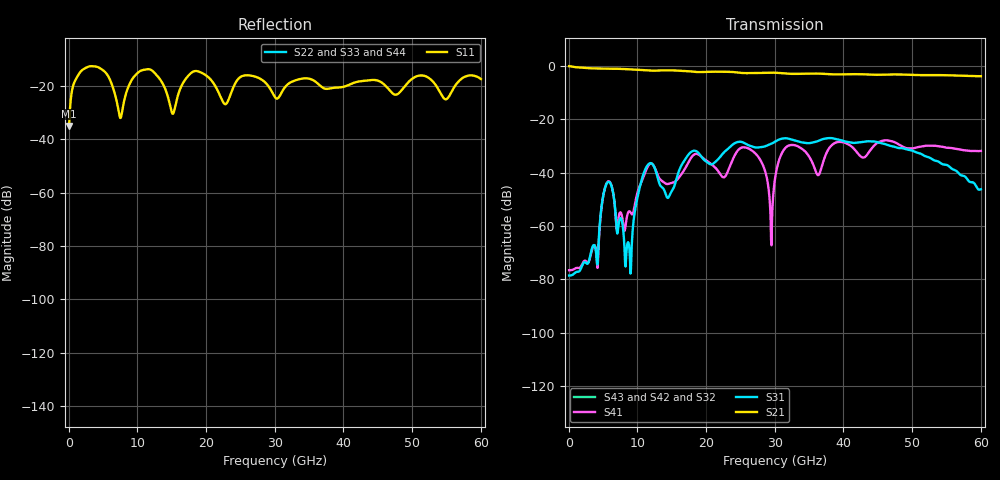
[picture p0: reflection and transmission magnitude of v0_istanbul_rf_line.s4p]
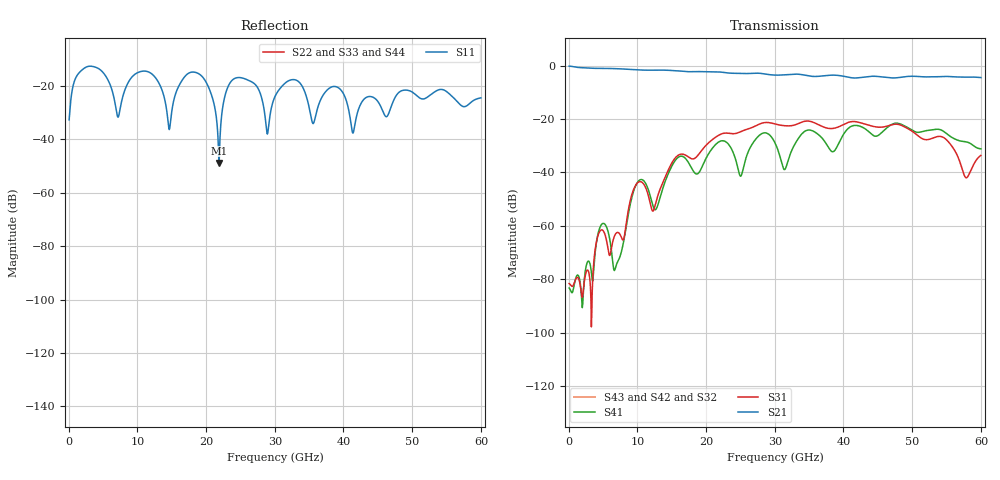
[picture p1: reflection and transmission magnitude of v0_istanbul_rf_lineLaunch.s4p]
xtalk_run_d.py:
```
"""Istanbul run (d): full module. Driver carrier (alumina) with GS traces, 8 bond wires (PEC, 17 um) to the launch pads,
line pair 8.75 mm. Port 1 = waveguide port on the driver trace of line A (aggressor, y = 0, excited); port 5 = same on
line B (not excited); ports 2, 4 = far-end discrete ports (assumed: 2 = A far, 4 = B far).
S-parameters exported as ASCII magnitudes (dB) only: S11, S21, S41 (FEXT), S51 (NEXT, at the driver port of B).
EO crosstalk from the gap fields as in runs (a)-(c): both lines 5 um from their centre, push-pull, n_g 2.27.
Field grid z 0.300..9.050, the z = 0.300 point dropped (as run c). All 60 frequencies are valid.
Runs (a)-(c) leave out 2 and 15 GHz (corrupted in run c), so the comparison uses the common set."""
import os, re, sys
HERE = os.path.dirname(os.path.abspath(__file__))
RA, RB, RC = (os.path.join(HERE, f"../istanbul_run_{r}") for r in "abc")
sys.path.insert(0, RA); sys.path.insert(0, os.path.abspath(os.path.join(HERE, "../../../..")))
import numpy as np, skrf as rf, matplotlib
matplotlib.use("Agg"); import matplotlib.pyplot as plt
from mzm_interconnect import parameters as P, xtalk_fields as XF
from load_fields import load
p = P.defaults(); p["Rt_R"] = 50.0; p["Zs_R"] = 50.0
dB = lambda s: 20 * np.log10(np.maximum(abs(s), 1e-12))
BAD = (2.0, 15.0)
LA = "e-field (f=1) [1]_lineA.zip"

def read_ascii(path):
    out, key = {}, None
    for ln in open(path):
        m = re.search(r'"(S\d,\d) \[Magnitude / dB\]"', ln)
        if m: key = m.group(1); out[key] = []; continue
        if ln.startswith("#") or not ln.strip(): continue
        out[key].append([float(v) for v in ln.split()])
    return {k: np.array(v) for k, v in out.items()}

Xd_all = XF.eo_crosstalk_fields(p, load(base=HERE, a_zip=LA, drop="first"))
Xd = XF.eo_crosstalk_fields(p, load(base=HERE, a_zip=LA, drop="first", skip_f=BAD)); f = Xd["f_GHz"]
Xa = XF.eo_crosstalk_fields(p, load(skip_f=BAD))
Xb = XF.eo_crosstalk_fields(p, load(base=RB, a_zip=LA, skip_f=BAD))
Xc = XF.eo_crosstalk_fields(p, load(base=RC, a_zip=LA, drop="first", skip_f=BAD))
for X in (Xa, Xb, Xc): assert np.allclose(X["f_GHz"], f)
eo = {r: dB(X["X"]) for r, X in zip("abcd", (Xa, Xb, Xc, Xd))}
Sd = read_ascii(os.path.join(HERE, "v0_istanbul_rf_module_allS.txt"))
na = rf.Network(os.path.join(RA, "v0_istanbul_rf_line.s4p")); nc = rf.Network(os.path.join(RC, "v0_istanbul_rf_lineLaunch.s4p"))
S = {"NEXT a": (na.f / 1e9, dB(na.s[:, 2, 0])), "NEXT c": (nc.f / 1e9, dB(nc.s[:, 2, 0])), "NEXT d": tuple(Sd["S5,1"].T),
     "FEXT a": (na.f / 1e9, dB(na.s[:, 3, 0])), "FEXT c": (nc.f / 1e9, dB(nc.s[:, 3, 0])), "FEXT d": tuple(Sd["S4,1"].T),
     "S11 c": (nc.f / 1e9, dB(nc.s[:, 0, 0])), "S11 d": tuple(Sd["S1,1"].T),
     "S21 c": (nc.f / 1e9, dB(nc.s[:, 1, 0])), "S21 d": tuple(Sd["S2,1"].T)}
I = {k: np.interp(f, *v) for k, v in S.items()}
np.savetxt(os.path.join(HERE, "xtalk_run_d.csv"), np.c_[f, I["NEXT d"], I["FEXT d"], eo["d"], eo["a"], eo["b"], eo["c"]],
           delimiter=",", fmt="%.3f", header="f_GHz,NEXT_dB_run_d,FEXT_dB_run_d,EO_dB_run_d,EO_dB_run_a,EO_dB_run_b,EO_dB_run_c", comments="")
k = f >= 5
print("f | NEXT a c d | FEXT a c d | EO a b c d | S11 c d | S21 c d (dB)")
for q in (5, 10, 20, 30, 40, 50, 60):
    i = np.argmin(abs(f - q))
    print(f"{q:2d} | " + " ".join(f"{I['NEXT '+r][i]:6.1f}" for r in "acd") + " | " + " ".join(f"{I['FEXT '+r][i]:6.1f}" for r in "acd")
          + " | " + " ".join(f"{eo[r][i]:6.1f}" for r in "abcd") + f" | {I['S11 c'][i]:6.1f} {I['S11 d'][i]:6.1f} | {I['S21 c'][i]:5.1f} {I['S21 d'][i]:5.1f}")
for lab, y in [(f"NEXT {r}", I[f"NEXT {r}"]) for r in "acd"] + [(f"FEXT {r}", I[f"FEXT {r}"]) for r in "acd"] + [(f"EO {r}", eo[r]) for r in "abcd"]:
    j = np.argmax(np.where(k, y, -999)); print(f"max {lab} 5-60 GHz: {y[j]:.1f} dB at {f[j]:.0f} GHz; median {np.median(y[k]):.1f}")
for lab, y, r in (("EO d - EO c", eo["d"], eo["c"]), ("EO d - EO a", eo["d"], eo["a"]), ("NEXT d - NEXT c", I["NEXT d"], I["NEXT c"]),
                  ("FEXT d - FEXT c", I["FEXT d"], I["FEXT c"]), ("S21 d - S21 c", I["S21 d"], I["S21 c"])):
    d = y - r; print("%s, 5-60 GHz: median %+.1f dB, 5-95%% %+.1f .. %+.1f; corr %.2f" % (lab, np.median(d[k]), *np.percentile(d[k], [5, 95]), np.corrcoef(y[k], r[k])[0, 1]))
print("corr(EO d, FEXT d) %.2f, corr(EO d, NEXT d) %.2f" % (np.corrcoef(eo["d"][k], I["FEXT d"][k])[0, 1], np.corrcoef(eo["d"][k], I["NEXT d"][k])[0, 1]))
fa = Xd_all["f_GHz"]; ea = dB(Xd_all["X"])
print("run d at 2, 15 GHz (left out of the comparison): " + ", ".join(f"{ea[np.argmin(abs(fa-q))]:.1f}" for q in (2, 15)) + " dB")
C = {"a": "#eb6834", "b": "#2a78d6", "c": "#1baa7d", "d": "#7a4bd1"}
def fig_(name, title, ylab, curves, ylim=(-110, -10)):
    fig, ax = plt.subplots(figsize=(8.5, 4.6))
    for x, y, c, ls, lab in curves: ax.plot(x, y, ls, color=c, ms=3, lw=1.3, label=lab)
    ax.set_xlim(0, 60); ax.set_ylim(*ylim); ax.set_xlabel("frequency (GHz)"); ax.set_ylabel(ylab); ax.grid(alpha=0.3)
    ax.set_title(title, fontsize=9.5); ax.legend(frameon=False, fontsize=8, loc="lower right"); fig.tight_layout()
    fig.savefig(os.path.join(HERE, name), dpi=150)
fig_("xtalk_run_d.png", "Istanbul run (d), full module (driver + wires + pads + line): NEXT, FEXT and EO crosstalk", "dB",
     [(*S["NEXT d"], "0.55", "-", "NEXT |S51| (driver port of B)"), (*S["FEXT d"], "0.2", "-", "FEXT |S41|"),
      (fa, ea, C["d"], "o-", "EO crosstalk B/A (gap fields)")])
fig_("eo_runs_abcd.png", "Istanbul 8.75 mm, EO crosstalk B/A: runs (a)-(d) (2 and 15 GHz left out)", "EO crosstalk (dB)",
     [(f, eo["a"], C["a"], "o-", "(a) bare line"), (f, eo["b"], C["b"], "o-", "(b) real far-end terminations"),
      (f, eo["c"], C["c"], "o-", "(c) launch pads"), (f, eo["d"], C["d"], "o-", "(d) full module")], ylim=(-70, -10))
fig_("next_fext_runs_acd.png", "Istanbul 8.75 mm: NEXT (solid) and FEXT (dashed), runs (a), (c), (d)", "dB",
     [(*S[f"NEXT {r}"], C[r], "-", f"NEXT ({r})") for r in "acd"] + [(*S[f"FEXT {r}"], C[r], "--", f"FEXT ({r})") for r in "acd"])
```
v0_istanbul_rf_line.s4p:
! TOUCHSTONE file generated by CST MICROWAVE STUDIO
! Date and time: Thu Nov  5 15:45:10 2026
! Project name: v0_istanbul_rf_line.cst
! Parameters = {LN_THICKNESS=0.000275; SILICON_THICKNESS=0.55}
! Header version: 2024
! Port assignment regex: !\s*Touchstone port\s*([0-9]+)\s*=\s*(CST MWS port|CST DES external port|CST DES block port)\s*(.+)\s* \(\"(.*)\"\)(\s*mode\s*([0-9]+))?.*
! Touchstone port assignment:
! Touchstone port 1 = CST MWS port 1 ("")
! Touchstone port 2 = CST MWS port 2 ("")
! Touchstone port 3 = CST MWS port 3 ("")
! Touchstone port 4 = CST MWS port 4 ("")
# GHz S MA R 50
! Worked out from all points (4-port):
!   1000 points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, 60 MHz to 60 GHz, reference 50 ohm
!   strongest paths, dB at 60 MHz, 15.06 GHz, 30.06 GHz, 45.06 GHz, 60 GHz:
!     S21: -0.1, -1.7, -2.6, -3.4, -3.9
!     S31: -78.5, -46.7, -28.4, -28.7, -46.2
!     S41: -76.5, -43.8, -41.8, -28.6, -31.9
!     S43: -, -, -, -, -
!     S42: -, -, -, -, -
!     S32: -, -, -, -, -
!   lowest |S11| = -35.0 dB at 60 MHz (marker M1), VSWR 1.04, Z = 51.4 + j1.06 ohm
!   |S11| at or under -10 dB: start of sweep to end of sweep
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0.06  0.01769 35.6  0 0.0  0 0.0  0 0.0
      0.9858 -1.8  0 0.0  0 0.0  0 0.0
      0.0001184 158.7  0 0.0  0 0.0  0 0.0
      0.0001491 -20.8  0 0.0  0 0.0  0 0.0
18.18  0.1852 0.8  0 0.0  0 0.0  0 0.0
       0.7761 -71.4  0 0.0  0 0.0  0 0.0
       0.02569 -168.8  0 0.0  0 0.0  0 0.0
       0.02146 2.2  0 0.0  0 0.0  0 0.0
60  0.1334 -44.2  0 0.0  0 0.0  0 0.0
    0.6401 35.9  0 0.0  0 0.0  0 0.0
    0.004881 131.0  0 0.0  0 0.0  0 0.0
    0.02552 -43.7  0 0.0  0 0.0  0 0.0
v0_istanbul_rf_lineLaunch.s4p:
! TOUCHSTONE file generated by CST MICROWAVE STUDIO
! Date and time: Fri Nov  6 09:24:55 2026
! Project name: v0_istanbul_rf_line+Launch.cst
! Parameters = {LN_THICKNESS=0.000275; SILICON_THICKNESS=0.55}
! Header version: 2024
! Port assignment regex: !\s*Touchstone port\s*([0-9]+)\s*=\s*(CST MWS port|CST DES external port|CST DES block port)\s*(.+)\s* \(\"(.*)\"\)(\s*mode\s*([0-9]+))?.*
! Touchstone port assignment:
! Touchstone port 1 = CST MWS port 1 ("")
! Touchstone port 2 = CST MWS port 2 ("")
! Touchstone port 3 = CST MWS port 3 ("")
! Touchstone port 4 = CST MWS port 4 ("")
# GHz S MA R 50
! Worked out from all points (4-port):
!   1000 points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, 60 MHz to 60 GHz, reference 50 ohm
!   strongest paths, dB at 60 MHz, 15.06 GHz, 30.06 GHz, 45.06 GHz, 60 GHz:
!     S21: -0.2, -1.8, -3.5, -4.1, -4.5
!     S31: -81.6, -36.2, -21.8, -23.0, -33.6
!     S41: -83.3, -37.4, -29.1, -26.1, -31.1
!     S43: -, -, -, -, -
!     S42: -, -, -, -, -
!     S32: -, -, -, -, -
!   lowest |S11| = -48.9 dB at 21.9 GHz (marker M1), VSWR 1.01, Z = 50.4 - j0.0262 ohm
!   |S11| at or under -10 dB: start of sweep to end of sweep
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0.06  0.02318 22.9  0 0.0  0 0.0  0 0.0
      0.9788 -1.8  0 0.0  0 0.0  0 0.0
      8.324e-05 -13.0  0 0.0  0 0.0  0 0.0
      6.878e-05 -13.1  0 0.0  0 0.0  0 0.0
21.9  0.003596 -4.1  0 0.0  0 0.0  0 0.0
      0.7623 164.4  0 0.0  0 0.0  0 0.0
      0.05037 13.4  0 0.0  0 0.0  0 0.0
      0.03768 -70.9  0 0.0  0 0.0  0 0.0
60  0.05962 61.5  0 0.0  0 0.0  0 0.0
    0.5989 -63.0  0 0.0  0 0.0  0 0.0
    0.0209 -136.5  0 0.0  0 0.0  0 0.0
    0.02773 -162.2  0 0.0  0 0.0  0 0.0
